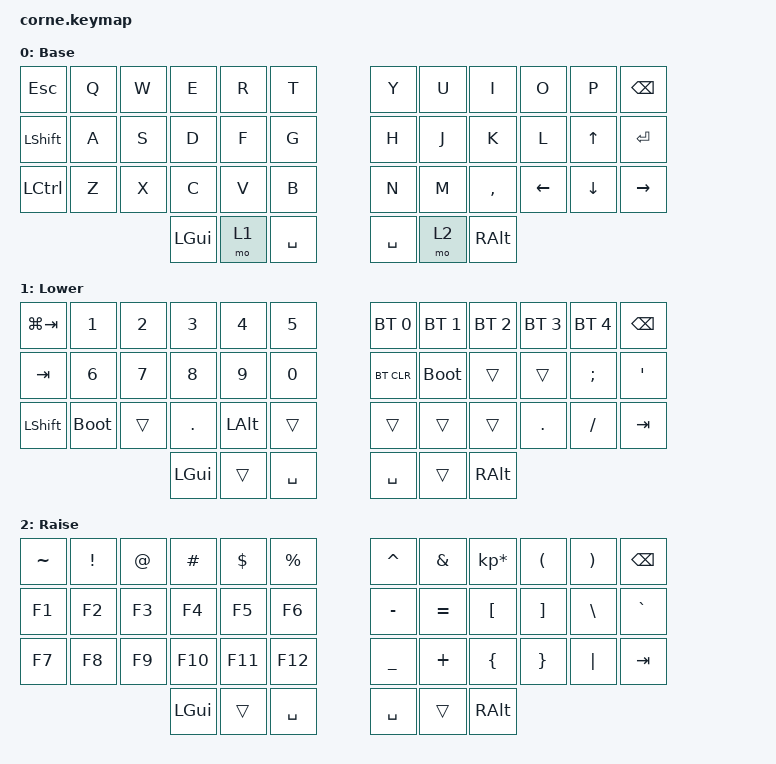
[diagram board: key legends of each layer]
/*
 * Copyright (c) 2020 The ZMK Contributors
 *
 * SPDX-License-Identifier: MIT
 */

#include <behaviors.dtsi>
#include <dt-bindings/zmk/keys.h>
#include <dt-bindings/zmk/bt.h>

/ {
        keymap {
                compatible = "zmk,keymap";

                default_layer {
// -----------------------------------------------------------------------------------------
// |  ESC |  Q  |  W  |  E  |  R  |  T  |   |  Y  |  U   |  I  |  O  |  P  | BKSP |
// | SHFT |  A  |  S  |  D  |  F  |  G  |   |  H  |  J   |  K  |  L  |  UP | ENT  |
// | CTRL |  Z  |  X  |  C  |  V  |  B  |   |  N  |  M   |  ,  | LFT | DWN | RGT  |
//                    | GUI | LWR | SPC |   | SPC | RSE  | ALT |
                        display-name = "Base";
                        bindings = <
   &kp ESC   &kp Q &kp W &kp E &kp R &kp T   &kp Y &kp U  &kp I     &kp O   &kp P    &kp BSPC
   &kp LSHFT &kp A &kp S &kp D &kp F &kp G   &kp H &kp J  &kp K     &kp L      &kp UP   &kp RET
   &kp LCTRL &kp Z &kp X &kp C &kp V &kp B   &kp N &kp M  &kp COMMA &kp LEFT &kp DOWN &kp RIGHT
                  &kp LGUI &mo 1 &kp SPACE   &kp SPACE &mo 2 &kp RALT
                        >;
                };
                lower_layer {
// -----------------------------------------------------------------------------------------
// | WTAB |  1  |  2  |  3  |  4  |  5  |   |  BT1|  BT2| BT3 | BT4 | BT5 | BKSP |
// | TAB  |  6  |  7  |  8  |  9  |  0  |   |BTCRL| BOOT|     |     |  ;  |   '  |
// | SHFT | BOOT|     |  .  | ALT |     |   |     |     |     |   . |  /  |  TAB |
//                    | GUI |     | SPC |   | SPC |     | ALT |
                        display-name = "Lower";
                        bindings = <
   &kp LG(TAB)    &kp N1       &kp N2       &kp N3       &kp N4       &kp N5         &bt BT_SEL 0   &bt BT_SEL 1   &bt BT_SEL 2 &bt BT_SEL 3    &bt BT_SEL 4 &kp BSPC
   &kp TAB &kp N6       &kp N7       &kp N8       &kp N9       &kp N0         &bt BT_CLR     &bootloader  &trans   &trans  &kp SEMI   &kp SQT
   &kp LSHFT  &bootloader       &trans       &kp DOT       &kp LALT  &trans         &trans   &trans   &trans   &kp DOT  &kp FSLH   &kp TAB
                          	        &kp LGUI     &trans       &kp SPACE      &kp SPACE  &trans   &kp RALT
                        >;
                };

                raise_layer {
// -----------------------------------------------------------------------------------------
// |  ~   |  !  |  @  |  #  |  $  |  %  |   |  ^  |  &  |  *  |  (  |  )  | BKSP |
// |  F1  |  F2 |  F3 |  F4 |  F5 |  F6 |   |  -  |  =  |  [  |  ]  |  \  |  `   |
// |  F7  |  F8 |  F9 | F10 | F11 | F12 |   |  _  |  +  |  {  |  }  | "|" |  TAB |
//                    | GUI |     | SPC |   | SPC |     | ALT |
                        display-name = "Raise";
                        bindings = <
   &kp TILDE  &kp EXCL &kp AT &kp HASH &kp DLLR &kp PRCNT   &kp CARET &kp AMPS  &kp KP_MULTIPLY &kp LPAR &kp RPAR &kp BSPC
   &kp F1 &kp F2   &kp F3 &kp F4   &kp F5   &kp F6      &kp MINUS &kp EQUAL &kp LBKT        &kp RBKT &kp BSLH &kp GRAVE
   &kp F7 &kp F8   &kp F9 &kp F10   &kp F11   &kp F12      &kp UNDER &kp PLUS  &kp LBRC        &kp RBRC &kp PIPE &kp TAB
                    	     &kp LGUI &trans   &kp SPACE   &kp SPACE   &trans    &kp RALT
                        >;
                };
        };
};
